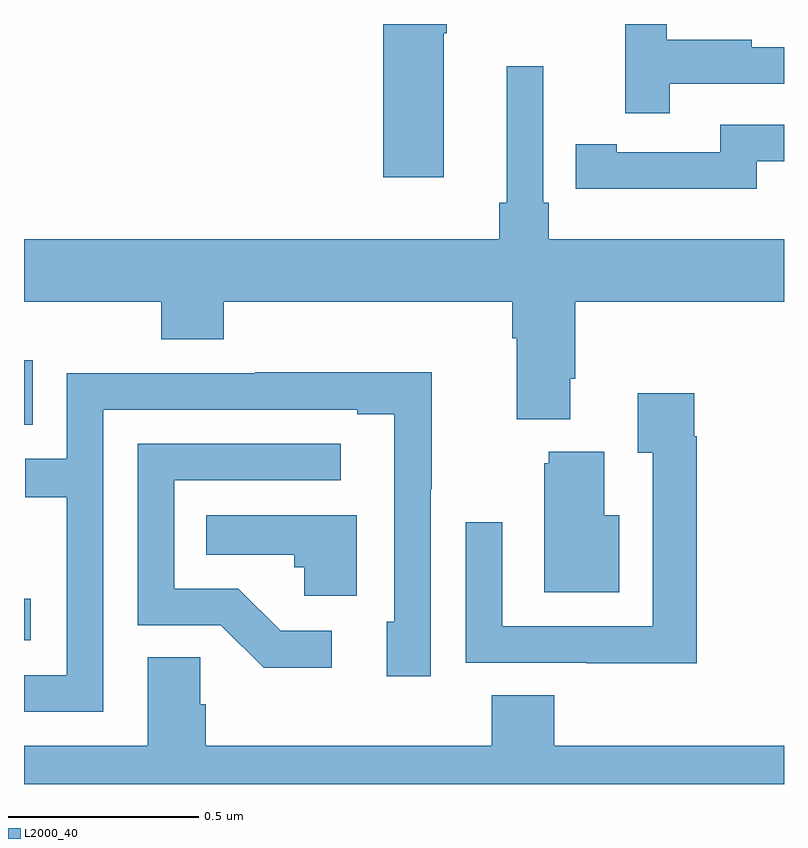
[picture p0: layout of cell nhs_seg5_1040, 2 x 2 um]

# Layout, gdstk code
import gdstk
lib = gdstk.Library(unit=1e-6, precision=1e-09)
def R(c, l, rs):  # rectangles x0, y0, x1, y1
    for r in rs: c.add(gdstk.rectangle(r[:2], r[2:], *l))
def P(c, l, *ps):  # polygons
    for p in ps: c.add(gdstk.Polygon(p, *l))
L2000_40 = (2000, 40)

nhs_seg5_1040 = lib.new_cell('nhs_seg5_1040')
R(nhs_seg5_1040, L2000_40, [(124,881.177,124.018,881.287), (124,881.745,124.023,881.914)])
P(nhs_seg5_1040, L2000_40, [(125.104,882.775),(125.112,882.775),(125.112,882.799),(124.946,882.799),(124.946,882.396),(125.104,882.396)],
  [(125.699,882.642),(126,882.642),(126,882.738),(125.915,882.738),(125.915,882.758),(125.692,882.758),(125.692,882.799),(125.582,882.799),(125.582,882.564),(125.699,882.564)],
  [(125.437,881.866),(125.45,881.866),(125.45,882.068),(126,882.068),(126,882.232),(125.381,882.232),(125.381,882.328),(125.367,882.328),(125.367,882.688),(125.27,882.688),(125.27,882.328),(125.251,882.328),(125.251,882.232),(124,882.232),(124,882.068),(124.361,882.068),(124.361,881.969),(124.526,881.969),(124.526,882.068),(125.285,882.068),(125.285,881.972),(125.297,881.972),(125.297,881.759),(125.437,881.759)],
  [(125.928,882.438),(126,882.438),(126,882.534),(125.832,882.534),(125.832,882.462),(125.56,882.462),(125.56,882.482),(125.452,882.482),(125.452,882.366),(125.56,882.366),(125.56,882.365),(125.928,882.365)],
  [(124.209,881.784),(124.877,881.784),(124.877,881.772),(124.974,881.772),(124.974,881.226),(124.955,881.226),(124.955,881.082),(125.07,881.082),(125.07,881.575),(125.073,881.575),(125.073,881.882),(124.609,881.882),(124.609,881.88),(124.113,881.88),(124.113,881.655),(124.003,881.655),(124.003,881.554),(124.113,881.554),(124.113,881.085),(124,881.085),(124,880.989),(124.209,880.989)],
  [(125.771,881.714),(125.764,881.714),(125.764,881.827),(125.615,881.827),(125.615,881.671),(125.655,881.671),(125.655,881.214),(125.259,881.214),(125.259,881.488),(125.163,881.488),(125.163,881.118),(125.479,881.118),(125.479,881.117),(125.771,881.117)],
  [(124.81,881.202),(124.675,881.202),(124.564,881.313),(124.395,881.313),(124.395,881.598),(124.834,881.598),(124.834,881.694),(124.299,881.694),(124.299,881.217),(124.518,881.217),(124.631,881.105),(124.81,881.105)],
  [(125.566,881.506),(125.527,881.506),(125.527,881.674),(125.381,881.674),(125.381,881.643),(125.369,881.643),(125.369,881.303),(125.566,881.303)],
  [(124.876,881.506),(124.48,881.506),(124.48,881.402),(124.711,881.402),(124.711,881.37),(124.737,881.37),(124.737,881.294),(124.876,881.294)],
  [(126,880.9),(125.396,880.9),(125.396,881.033),(125.231,881.033),(125.231,880.9),(124.478,880.9),(124.478,881.009),(124.464,881.009),(124.464,881.132),(124.325,881.132),(124.325,880.9),(124,880.9),(124,880.799),(126,880.799)])

lib.write_gds('nhs_seg5_1040.gds')
